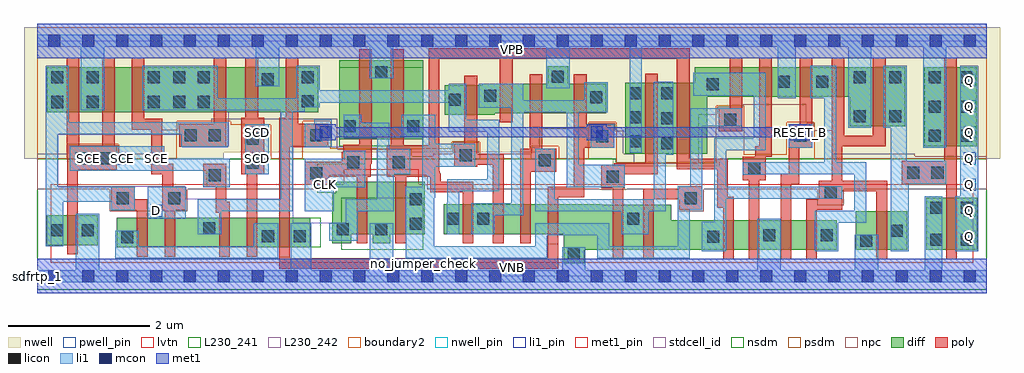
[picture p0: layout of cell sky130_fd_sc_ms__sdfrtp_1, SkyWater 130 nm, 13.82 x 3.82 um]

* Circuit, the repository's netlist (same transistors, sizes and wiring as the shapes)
* Copyright 2020 The SkyWater PDK Authors
*
* Licensed under the Apache License, Version 2.0 (the "License");
* you may not use this file except in compliance with the License.
* You may obtain a copy of the License at
*
*     https://www.apache.org/licenses/LICENSE-2.0
*
* Unless required by applicable law or agreed to in writing, software
* distributed under the License is distributed on an "AS IS" BASIS,
* WITHOUT WARRANTIES OR CONDITIONS OF ANY KIND, either express or implied.
* See the License for the specific language governing permissions and
* limitations under the License.
*
* SPDX-License-Identifier: Apache-2.0

.SUBCKT sky130_fd_sc_ms__sdfrtp_1 CLK D RESET_B SCD SCE VGND VNB VPB VPWR Q
*.PININFO CLK:I D:I RESET_B:I SCD:I SCE:I VGND:I VNB:I VPB:I VPWR:I
*.PININFO Q:O
MI642 clkneg CLK VGND VNB sky130_fd_pr__nfet_01v8_lvt m=1 w=0.74U l=0.15U mult=1
+ sa=0.265 sb=0.265 sd=0.28 area=0.063 perim=1.14
MI636 clkpos clkneg VGND VNB sky130_fd_pr__nfet_01v8_lvt m=1 w=0.74U l=0.15U mult=1
+ sa=0.265 sb=0.265 sd=0.28 area=0.063 perim=1.14
MI42 db clkneg M0 VNB sky130_fd_pr__nfet_01v8_lvt m=1 w=0.42U l=0.15U mult=1 sa=0.265
+ sb=0.265 sd=0.28 area=0.063 perim=1.14
MI656 net127 s0 net89 VNB sky130_fd_pr__nfet_01v8_lvt m=1 w=0.42U l=0.15U mult=1
+ sa=0.265 sb=0.265 sd=0.28 area=0.063 perim=1.14
MI657 net89 RESET_B VGND VNB sky130_fd_pr__nfet_01v8_lvt m=1 w=0.42U l=0.15U mult=1
+ sa=0.265 sb=0.265 sd=0.28 area=0.063 perim=1.14
MI33 net98 RESET_B VGND VNB sky130_fd_pr__nfet_01v8_lvt m=1 w=0.42U l=0.15U mult=1
+ sa=0.265 sb=0.265 sd=0.28 area=0.063 perim=1.14
MI634 sceb SCE VGND VNB sky130_fd_pr__nfet_01v8_lvt m=1 w=0.42U l=0.15U mult=1
+ sa=0.265 sb=0.265 sd=0.28 area=0.063 perim=1.14
MI4 M0 clkpos net110 VNB sky130_fd_pr__nfet_01v8_lvt m=1 w=0.42U l=0.15U mult=1
+ sa=0.265 sb=0.265 sd=0.28 area=0.063 perim=1.14
MI34 net110 M1 net98 VNB sky130_fd_pr__nfet_01v8_lvt m=1 w=0.42U l=0.15U mult=1
+ sa=0.265 sb=0.265 sd=0.28 area=0.063 perim=1.14
MI655 s0 clkneg net113 VNB sky130_fd_pr__nfet_01v8_lvt m=1 w=0.42U l=0.15U mult=1
+ sa=0.265 sb=0.265 sd=0.28 area=0.063 perim=1.14
MI652 net198 s0 VGND VNB sky130_fd_pr__nfet_01v8_lvt m=1 w=0.55U l=0.15U mult=1
+ sa=0.265 sb=0.265 sd=0.28 area=0.063 perim=1.14
MI653 Q net198 VGND VNB sky130_fd_pr__nfet_01v8_lvt m=1 w=0.74U l=0.15U mult=1
+ sa=0.265 sb=0.265 sd=0.28 area=0.063 perim=1.14
MI654 net113 net127 VGND VNB sky130_fd_pr__nfet_01v8_lvt m=1 w=0.42U l=0.15U mult=1
+ sa=0.265 sb=0.265 sd=0.28 area=0.063 perim=1.14
MI647 M1 M0 VGND VNB sky130_fd_pr__nfet_01v8_lvt m=1 w=0.64U l=0.15U mult=1 sa=0.265
+ sb=0.265 sd=0.28 area=0.063 perim=1.14
MI649 M1 clkpos s0 VNB sky130_fd_pr__nfet_01v8_lvt m=1 w=0.64U l=0.15U mult=1 sa=0.265
+ sb=0.265 sd=0.28 area=0.063 perim=1.14
MI666 net153 RESET_B VGND VNB sky130_fd_pr__nfet_01v8_lvt m=1 w=0.42U l=0.15U mult=1
+ sa=0.265 sb=0.265 sd=0.28 area=0.525 perim=3.1
MI98 db D n0 VNB sky130_fd_pr__nfet_01v8_lvt m=1 w=0.42U l=0.15U mult=1 sa=0.265
+ sb=0.265 sd=0.28 area=0.525 perim=3.1
MI103 n1 SCD net153 VNB sky130_fd_pr__nfet_01v8_lvt m=1 w=0.42U l=0.15U mult=1
+ sa=0.265 sb=0.265 sd=0.28 area=0.525 perim=3.1
MI120 db SCE n1 VNB sky130_fd_pr__nfet_01v8_lvt m=1 w=0.42U l=0.15U mult=1 sa=0.265
+ sb=0.265 sd=0.28 area=0.525 perim=3.1
MI104 n0 sceb net153 VNB sky130_fd_pr__nfet_01v8_lvt m=1 w=0.42U l=0.15U mult=1
+ sa=0.265 sb=0.265 sd=0.28 area=0.525 perim=3.1
MI643 clkneg CLK VPWR VPB sky130_fd_pr__pfet_01v8 m=1 w=1.12U l=0.18U mult=1 sa=0.265
+ sb=0.265 sd=0.28 area=0.063 perim=1.14
MI635 clkpos clkneg VPWR VPB sky130_fd_pr__pfet_01v8 m=1 w=1.12U l=0.18U mult=1
+ sa=0.265 sb=0.265 sd=0.28 area=0.063 perim=1.14
MI43 db clkpos M0 VPB sky130_fd_pr__pfet_01v8 m=1 w=0.42U l=0.18U mult=1 sa=0.265
+ sb=0.265 sd=0.28 area=0.063 perim=1.14
MI662 net170 net127 VPWR VPB sky130_fd_pr__pfet_01v8 m=1 w=0.42U l=0.18U mult=1
+ sa=0.265 sb=0.265 sd=0.28 area=0.063 perim=1.14
MI659 net127 RESET_B VPWR VPB sky130_fd_pr__pfet_01v8 m=1 w=0.42U l=0.18U mult=1
+ sa=0.265 sb=0.265 sd=0.28 area=0.063 perim=1.14
MI664 s0 clkpos net170 VPB sky130_fd_pr__pfet_01v8 m=1 w=0.42U l=0.18U mult=1 sa=0.265
+ sb=0.265 sd=0.28 area=0.063 perim=1.14
MI658 net127 s0 VPWR VPB sky130_fd_pr__pfet_01v8 m=1 w=0.42U l=0.18U mult=1 sa=0.265
+ sb=0.265 sd=0.28 area=0.063 perim=1.14
MI30 net189 M1 VPWR VPB sky130_fd_pr__pfet_01v8 m=1 w=0.42U l=0.18U mult=1 sa=0.265
+ sb=0.265 sd=0.28 area=0.063 perim=1.14
MI31 M0 clkneg net189 VPB sky130_fd_pr__pfet_01v8 m=1 w=0.42U l=0.18U mult=1 sa=0.265
+ sb=0.265 sd=0.28 area=0.063 perim=1.14
MI32 M0 RESET_B VPWR VPB sky130_fd_pr__pfet_01v8 m=1 w=0.42U l=0.18U mult=1 sa=0.265
+ sb=0.265 sd=0.28 area=0.063 perim=1.14
MI663 net198 s0 VPWR VPB sky130_fd_pr__pfet_01v8 m=1 w=0.84U l=0.18U mult=1 sa=0.265
+ sb=0.265 sd=0.28 area=0.063 perim=1.14
MI660 Q net198 VPWR VPB sky130_fd_pr__pfet_01v8 m=1 w=1.12U l=0.18U mult=1 sa=0.265
+ sb=0.265 sd=0.28 area=0.063 perim=1.14
MI648 M1 M0 VPWR VPB sky130_fd_pr__pfet_01v8 m=1 w=1.0U l=0.18U mult=1 sa=0.265
+ sb=0.265 sd=0.28 area=0.063 perim=1.14
MI650 M1 clkneg s0 VPB sky130_fd_pr__pfet_01v8 m=1 w=1.0U l=0.18U mult=1 sa=0.265
+ sb=0.265 sd=0.28 area=0.063 perim=1.14
MI633 sceb SCE VPWR VPB sky130_fd_pr__pfet_01v8 m=1 w=0.64U l=0.18U mult=1 sa=0.265
+ sb=0.265 sd=0.28 area=0.063 perim=1.14
MI101 db sceb p1 VPB sky130_fd_pr__pfet_01v8 m=1 w=0.64U l=0.18U mult=1 sa=0.265
+ sb=0.265 sd=0.28 area=0.063 perim=1.14
MI107 p0 SCE VPWR VPB sky130_fd_pr__pfet_01v8 m=1 w=0.64U l=0.18U mult=1 sa=0.265
+ sb=0.265 sd=0.28 area=0.063 perim=1.14
MI94 db D p0 VPB sky130_fd_pr__pfet_01v8 m=1 w=0.64U l=0.18U mult=1 sa=0.265 sb=0.265
+ sd=0.28 area=0.063 perim=1.14
MI108 p1 SCD VPWR VPB sky130_fd_pr__pfet_01v8 m=1 w=0.64U l=0.18U mult=1 sa=0.265
+ sb=0.265 sd=0.28 area=0.063 perim=1.14
MI665 db RESET_B VPWR VPB sky130_fd_pr__pfet_01v8 m=1 w=0.64U l=0.18U mult=1 sa=0.265
+ sb=0.265 sd=0.28 area=0.063 perim=1.14
.ENDS sky130_fd_sc_ms__sdfrtp_1

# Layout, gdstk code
import gdstk
lib = gdstk.Library(unit=1e-6, precision=1e-09)
def R(c, l, rs):  # rectangles x0, y0, x1, y1
    for r in rs: c.add(gdstk.rectangle(r[:2], r[2:], *l))
def A(c, l, x, y, w, h, nx, ny, dx, dy):  # array of equal rectangles
    R(c, l, [(x+i*dx, y+j*dy, x+i*dx+w, y+j*dy+h) for i in range(nx) for j in range(ny)])
def P(c, l, *ps):  # polygons
    for p in ps: c.add(gdstk.Polygon(p, *l))
nwell_pin = (64, 16)
nwell = (64, 20)
diff = (65, 20)
poly = (66, 20)
licon = (66, 44)
li1_pin = (67, 16)
li1 = (67, 20)
mcon = (67, 44)
met1_pin = (68, 16)
met1 = (68, 20)
stdcell_id = (81, 4)
nsdm = (93, 44)
psdm = (94, 20)
npc = (95, 20)
pwell_pin = (122, 16)
lvtn = (125, 44)
L230_241 = (230, 241)
L230_242 = (230, 242)
boundary2 = (236, 0)

sky130_fd_sc_ms__sdfrtp_ = lib.new_cell('sky130_fd_sc_ms__sdfrtp_1')
R(sky130_fd_sc_ms__sdfrtp_, nwell_pin, [(0,3.085,13.44,3.33)])
P(sky130_fd_sc_ms__sdfrtp_, nwell, [(13.63,3.52),(-0.19,3.52),(-0.19,1.66),(2.635,1.66),(2.635,1.755),(7.135,1.755),(7.135,1.66),(8.145,1.66),(8.145,1.555),(9.665,1.555),(9.665,1.66),(13.63,1.66)])
R(sky130_fd_sc_ms__sdfrtp_, diff, [(11.59,0.37,12.315,0.92), (12.585,0.37,13.305,1.11), (1.125,0.405,3.86,0.825), (0.135,0.44,0.855,0.86), (12.56,1.84,13.3,2.96), (4.275,1.935,5.465,3.055), (0.135,2.32,3.975,2.96)])
P(sky130_fd_sc_ms__sdfrtp_, diff, [(8.055,2.725),(7.52,2.725),(7.52,2.97),(7.225,2.97),(7.225,2.725),(6.3,2.725),(6.3,2.705),(5.765,2.705),(5.765,2.285),(6.475,2.285),(6.475,2.305),(8.055,2.305)],
  [(11.32,0.79),(8.975,0.79),(8.975,1.01),(7.995,1.01),(7.995,1.015),(5.755,1.015),(5.755,0.595),(7.45,0.595),(7.45,0.18),(7.74,0.18),(7.74,0.37),(11.32,0.37)],
  [(12.29,2.96),(9.31,2.96),(9.31,2.735),(8.325,2.735),(8.325,1.735),(9.485,1.735),(9.485,2.54),(11.5,2.54),(11.5,2.12),(12.29,2.12)],
  [(5.485,1.335),(4.225,1.335),(4.225,1.18),(4.175,1.18),(4.175,0.465),(4.445,0.465),(4.445,0.595),(4.745,0.595),(4.745,0.465),(4.995,0.465),(4.995,0.595),(5.485,0.595)])
P(sky130_fd_sc_ms__sdfrtp_, poly, [(1.125,1.835),(1.095,1.835),(1.095,3.09),(0.915,3.09),(0.915,1.835),(0.595,1.835),(0.595,3.09),(0.415,3.09),(0.415,1.685),(0.42,1.685),(0.42,0.31),(0.57,0.31),(0.57,1.505),(1.125,1.505)],
  [(1.56,1.085),(1.375,1.085),(1.375,1.265),(1.045,1.265),(1.045,0.935),(1.41,0.935),(1.41,0.275),(1.56,0.275)],
  [(2.1,1.265),(1.92,1.265),(1.92,1.59),(1.765,1.59),(1.765,2.225),(1.515,2.225),(1.515,3.09),(1.335,3.09),(1.335,2.075),(1.615,2.075),(1.615,1.44),(1.77,1.44),(1.77,0.935),(1.8,0.935),(1.8,0.275),(1.95,0.275),(1.95,0.935),(2.1,0.935)],
  [(2.675,3.09),(2.495,3.09),(2.495,2.16),(2.005,2.16),(2.005,1.83),(2.675,1.83)],
  [(2.725,1.05),(2.675,1.05),(2.675,1.59),(2.345,1.59),(2.345,1.26),(2.525,1.26),(2.525,0.9),(2.575,0.9),(2.575,0.275),(2.725,0.275)],
  [(3.215,2.245),(3.125,2.245),(3.125,3.09),(2.945,3.09),(2.945,2.245),(2.885,2.245),(2.885,1.44),(2.965,1.44),(2.965,0.275),(3.115,0.275),(3.115,1.44),(3.215,1.44)],
  [(4.735,3.215),(4.555,3.215),(4.555,1.86),(4.33,1.86),(4.33,1.755),(4.31,1.755),(4.31,1.62),(3.785,1.62),(3.785,1.29),(4.115,1.29),(4.115,1.41),(4.52,1.41),(4.52,0.465),(4.67,0.465),(4.67,1.41),(4.72,1.41),(4.72,1.59),(4.735,1.59)],
  [(6.6,1.725),(6.23,1.725),(6.23,1.875),(6.225,1.875),(6.225,2.835),(6.045,2.835),(6.045,1.875),(5.9,1.875),(5.9,1.545),(6.23,1.545),(6.23,1.575),(6.45,1.575),(6.45,0.465),(6.6,0.465)],
  [(7.35,1.805),(7.15,1.805),(7.15,2.855),(6.97,2.855),(6.97,1.805),(6.835,1.805),(6.835,0.465),(6.985,0.465),(6.985,1.475),(7.35,1.475)],
  [(8.165,2.145),(7.775,2.145),(7.775,2.855),(7.595,2.855),(7.595,1.265),(7.225,1.265),(7.225,0.255),(3.575,0.255),(3.575,1.83),(4.095,1.83),(4.095,1.85),(4.115,1.85),(4.115,2.16),(3.695,2.16),(3.695,3.09),(3.515,3.09),(3.515,2.245),(3.425,2.245),(3.425,0.105),(7.375,0.105),(7.375,1.115),(7.745,1.115),(7.745,1.815),(8.165,1.815)],
  [(8.785,2.865),(8.605,2.865),(8.605,1.595),(8.165,1.595),(8.165,1.575),(7.985,1.575),(7.985,1.245),(8.145,1.245),(8.145,0.24),(8.295,0.24),(8.295,1.245),(8.315,1.245),(8.315,1.445),(8.785,1.445)],
  [(9.415,1.27),(9.085,1.27),(9.085,1.235),(8.575,1.235),(8.575,0.24),(8.725,0.24),(8.725,1.085),(9.085,1.085),(9.085,0.94),(9.415,0.94)],
  [(9.86,1.12),(9.775,1.12),(9.775,1.66),(9.235,1.66),(9.235,3.225),(5.54,3.225),(5.54,1.85),(5.185,1.85),(5.185,3.215),(5.005,3.215),(5.005,1.85),(4.95,1.85),(4.95,1.41),(5.07,1.41),(5.07,0.465),(5.22,0.465),(5.22,1.41),(5.56,1.41),(5.56,1.185),(6.02,1.185),(6.02,0.465),(6.17,0.465),(6.17,1.335),(5.71,1.335),(5.71,1.45),(5.705,1.45),(5.705,1.465),(5.7,1.465),(5.7,1.48),(5.695,1.48),(5.695,1.485),(5.69,1.485),(5.69,3.075),(6.55,3.075),(6.55,2.175),(6.73,2.175),(6.73,3.075),(9.055,3.075),(9.055,1.51),(9.625,1.51),(9.625,0.97),(9.71,0.97),(9.71,0.24),(9.86,0.24)],
  [(9.98,3.09),(9.8,3.09),(9.8,2.38),(9.645,2.38),(9.645,2.05),(9.98,2.05)],
  [(10.4,3.09),(10.22,3.09),(10.22,1.84),(10.165,1.84),(10.165,1.69),(9.985,1.69),(9.985,1.36),(10.07,1.36),(10.07,0.24),(10.22,0.24),(10.22,1.36),(10.315,1.36),(10.315,1.69),(10.4,1.69)],
  [(10.975,3.09),(10.795,3.09),(10.795,2.15),(10.64,2.15),(10.64,1.45),(10.525,1.45),(10.525,0.24),(10.675,0.24),(10.675,1.3),(10.79,1.3),(10.79,1.82),(10.975,1.82)],
  [(12.03,1.35),(11.395,1.35),(11.395,1.84),(12.01,1.84),(12.01,3.09),(11.83,3.09),(11.83,1.99),(11.425,1.99),(11.425,3.09),(11.245,3.09),(11.245,1.35),(11.065,1.35),(11.065,1.09),(10.885,1.09),(10.885,0.24),(11.035,0.24),(11.035,0.94),(11.395,0.94),(11.395,1.2),(11.88,1.2),(11.88,0.24),(12.03,0.24)],
  [(13.02,3.09),(12.84,3.09),(12.84,1.63),(12.24,1.63),(12.24,1.3),(12.87,1.3),(12.87,0.24),(13.02,0.24)])
A(sky130_fd_sc_ms__sdfrtp_, licon, 8.835, 1.795, 0.17, 0.17, 1, 3, 0, 0.355)
A(sky130_fd_sc_ms__sdfrtp_, licon, 8.385, 1.825, 0.17, 0.17, 1, 3, 0, 0.34)
A(sky130_fd_sc_ms__sdfrtp_, licon, 12.62, 1.9, 0.17, 0.17, 1, 3, 0, 0.415)
A(sky130_fd_sc_ms__sdfrtp_, licon, 13.07, 1.9, 0.17, 0.17, 1, 3, 0, 0.415)
R(sky130_fd_sc_ms__sdfrtp_, licon, [(7.51,0.24,7.68,0.41), (11.65,0.415,11.82,0.585), (12.645,0.43,12.815,0.6), (13.075,0.43,13.245,0.6), (1.185,0.465,1.355,0.635), (9.485,0.475,9.655,0.645), (3.18,0.48,3.35,0.65), (3.63,0.48,3.8,0.65), (10.275,0.495,10.445,0.665), (11.09,0.495,11.26,0.665), (12.085,0.56,12.255,0.73), (0.195,0.565,0.365,0.735), (0.625,0.565,0.795,0.735), (4.235,0.58,4.405,0.75), (4.785,0.58,4.955,0.75), (2.35,0.595,2.52,0.765), (5.275,0.655,5.445,0.825), (5.795,0.725,5.965,0.895), (6.225,0.725,6.395,0.895), (8.35,0.725,8.52,0.895), (12.645,0.88,12.815,1.05), (13.075,0.88,13.245,1.05), (5.275,1.005,5.445,1.175), (1.125,1.015,1.295,1.185), (1.85,1.015,2.02,1.185), (9.165,1.02,9.335,1.19), (11.145,1.1,11.315,1.27), (8.065,1.325,8.235,1.495), (2.425,1.34,2.595,1.51), (3.865,1.37,4.035,1.54), (12.32,1.38,12.49,1.55), (12.66,1.38,12.83,1.55), (10.065,1.44,10.235,1.61), (2.965,1.52,3.135,1.69), (4.39,1.525,4.56,1.695), (5.03,1.525,5.2,1.695), (7.1,1.555,7.27,1.725), (0.535,1.585,0.705,1.755), (0.875,1.585,1.045,1.755), (5.98,1.625,6.15,1.795), (2.965,1.86,3.135,2.03), (7.915,1.895,8.085,2.065), (10.72,1.9,10.89,2.07), (2.085,1.91,2.255,2.08), (2.425,1.91,2.595,2.08), (3.865,1.91,4.035,2.08), (4.335,2.035,4.505,2.205), (5.235,2.035,5.405,2.205), (9.725,2.13,9.895,2.3), (11.56,2.18,11.73,2.35), (12.06,2.18,12.23,2.35), (0.195,2.38,0.365,2.55), (0.695,2.38,0.865,2.55), (1.565,2.38,1.735,2.55), (1.92,2.38,2.09,2.55), (2.27,2.38,2.44,2.55), (3.745,2.39,3.915,2.56), (5.825,2.41,5.995,2.58), (7.825,2.445,7.995,2.615), (6.33,2.47,6.5,2.64), (9.475,2.63,9.645,2.8), (10.485,2.665,10.655,2.835), (11.025,2.665,11.195,2.835), (3.175,2.705,3.345,2.875), (0.195,2.73,0.365,2.9), (0.695,2.73,0.865,2.9), (1.565,2.73,1.735,2.9), (1.92,2.73,2.09,2.9), (2.27,2.73,2.44,2.9), (3.745,2.73,3.915,2.9), (11.56,2.73,11.73,2.9), (12.06,2.73,12.23,2.9), (7.285,2.74,7.455,2.91), (4.785,2.8,4.955,2.97)])
A(sky130_fd_sc_ms__sdfrtp_, li1_pin, 13.115, 0.47, 0.17, 0.17, 1, 7, 0, 0.37)
A(sky130_fd_sc_ms__sdfrtp_, li1_pin, 0.635, 1.58, 0.17, 0.17, 3, 1, 0.48, 0)
R(sky130_fd_sc_ms__sdfrtp_, li1_pin, [(1.595,0.84,1.765,1.01), (3.995,1.21,4.165,1.38), (3.035,1.58,3.205,1.75), (3.035,1.95,3.205,2.12)])
R(sky130_fd_sc_ms__sdfrtp_, li1, [(1.565,0.81,2.1,1.265), (2.945,1.44,3.275,2.15), (7.835,1.815,8.165,2.15), (10.64,1.82,10.97,2.15)])
P(sky130_fd_sc_ms__sdfrtp_, li1, [(2.705,2.175),(0.445,2.175),(0.445,2.98),(0.115,2.98),(0.115,0.42),(0.365,0.42),(0.365,1.05),(1.045,1.05),(1.045,0.935),(1.375,0.935),(1.375,1.265),(0.285,1.265),(0.285,2.005),(2.035,2.005),(2.035,1.83),(2.705,1.83)],
  [(2.725,1.66),(1.795,1.66),(1.795,1.835),(0.455,1.835),(0.455,1.49),(2.345,1.49),(2.345,1.26),(2.725,1.26)],
  [(3.41,0.75),(3.06,0.75),(3.06,0.425),(1.435,0.425),(1.435,0.64),(1.105,0.64),(1.105,0.255),(3.41,0.255)],
  [(4.165,2.22),(3.92,2.22),(3.92,2.16),(3.785,2.16),(3.785,1.83),(4.165,1.83)],
  [(4.64,1.775),(4.335,1.775),(4.335,1.66),(3.785,1.66),(3.785,0.92),(4.195,0.92),(4.195,1.26),(4.64,1.26)],
  [(5.28,1.8),(4.98,1.8),(4.98,2.17),(4.585,2.17),(4.585,2.285),(4.335,2.285),(4.335,1.95),(4.81,1.95),(4.81,1.09),(4.365,1.09),(4.365,0.75),(4.135,0.75),(4.135,0.5),(4.535,0.5),(4.535,0.92),(5.045,0.92),(5.045,1.445),(5.28,1.445)],
  [(6.54,2.215),(6.075,2.215),(6.075,2.725),(5.825,2.725),(5.825,2.63),(3.995,2.63),(3.995,2.98),(3.665,2.98),(3.665,2.515),(2.555,2.515),(2.555,2.98),(1.485,2.98),(1.485,2.345),(3.445,2.345),(3.445,1.09),(2.27,1.09),(2.27,0.595),(2.6,0.595),(2.6,0.92),(3.615,0.92),(3.615,2.33),(3.785,2.33),(3.785,2.39),(3.995,2.39),(3.995,2.455),(5.825,2.455),(5.825,2.045),(6.37,2.045),(6.37,1.37),(5.8,1.37),(5.8,1.035),(5.795,1.035),(5.795,0.595),(5.975,0.595),(5.975,1.2),(6.54,1.2)],
  [(8.315,1.575),(7.665,1.575),(7.665,2.32),(8.075,2.32),(8.075,2.745),(7.745,2.745),(7.745,2.49),(6.88,2.49),(6.88,2.725),(6.25,2.725),(6.25,2.385),(6.71,2.385),(6.71,1.03),(6.145,1.03),(6.145,0.595),(6.47,0.595),(6.47,0.86),(6.88,0.86),(6.88,2.32),(7.495,2.32),(7.495,1.26),(8.315,1.26)],
  [(9.005,2.755),(8.725,2.755),(8.725,1.09),(7.325,1.09),(7.325,1.805),(7.05,1.805),(7.05,0.92),(8.27,0.92),(8.27,0.595),(8.655,0.595),(8.655,0.92),(8.895,0.92),(8.895,1.715),(9.005,1.715)],
  [(9.975,2.38),(9.245,2.38),(9.245,1.27),(9.065,1.27),(9.065,0.425),(8.1,0.425),(8.1,0.75),(7.05,0.75),(7.05,0.425),(5.62,0.425),(5.62,1.11),(5.63,1.11),(5.63,1.545),(6.2,1.545),(6.2,1.875),(5.63,1.875),(5.63,2.285),(5.155,2.285),(5.155,1.97),(5.45,1.97),(5.45,1.265),(5.215,1.265),(5.215,0.255),(7.22,0.255),(7.22,0.58),(7.93,0.58),(7.93,0.255),(9.235,0.255),(9.235,0.94),(9.415,0.94),(9.415,2.125),(9.975,2.125)],
  [(11.395,1.275),(11.065,1.275),(11.065,1.265),(9.755,1.265),(9.755,1.785),(10.315,1.785),(10.315,2.88),(9.29,2.88),(9.29,2.55),(10.145,2.55),(10.145,1.955),(9.585,1.955),(9.585,0.77),(9.405,0.77),(9.405,0.35),(9.755,0.35),(9.755,1.095),(11.395,1.095)],
  [(11.735,1.615),(11.31,1.615),(11.31,2.98),(10.945,2.98),(10.945,2.52),(11.14,2.52),(11.14,1.615),(9.985,1.615),(9.985,1.435),(10.315,1.435),(10.315,1.445),(11.565,1.445),(11.565,0.925),(11.01,0.925),(11.01,0.35),(11.34,0.35),(11.34,0.755),(11.735,0.755)],
  [(13.44,0.085),(12.815,0.085),(12.815,1.13),(12.565,1.13),(12.565,0.085),(11.905,0.085),(11.905,0.585),(11.57,0.585),(11.57,0.085),(10.525,0.085),(10.525,0.81),(10.195,0.81),(10.195,0.085),(7.76,0.085),(7.76,0.41),(7.43,0.41),(7.43,0.085),(5.035,0.085),(5.035,0.75),(4.705,0.75),(4.705,0.085),(3.88,0.085),(3.88,0.75),(3.59,0.75),(3.59,0.085),(0.875,0.085),(0.875,0.88),(0.545,0.88),(0.545,0.085),(0,0.085),(0,-0.085),(13.44,-0.085)],
  [(13.44,3.415),(0,3.415),(0,3.245),(0.615,3.245),(0.615,2.345),(0.945,2.345),(0.945,3.245),(3.095,3.245),(3.095,2.685),(3.425,2.685),(3.425,3.245),(4.705,3.245),(4.705,2.8),(5.035,2.8),(5.035,3.245),(7.205,3.245),(7.205,2.66),(7.54,2.66),(7.54,3.245),(8.385,3.245),(8.385,1.745),(8.555,1.745),(8.555,3.245),(10.485,3.245),(10.485,2.52),(10.735,2.52),(10.735,3.245),(11.48,3.245),(11.48,2.1),(11.81,2.1),(11.81,3.245),(12.54,3.245),(12.54,1.82),(12.87,1.82),(12.87,3.245),(13.44,3.245)],
  [(12.87,1.63),(12.31,1.63),(12.31,2.98),(11.98,2.98),(11.98,2.1),(12.085,2.1),(12.085,0.35),(12.335,0.35),(12.335,1.3),(12.87,1.3)],
  [(13.325,2.98),(13.07,2.98),(13.07,1.13),(12.995,1.13),(12.995,0.35),(13.325,0.35)])
A(sky130_fd_sc_ms__sdfrtp_, mcon, 0.155, -0.085, 0.17, 0.17, 28, 2, 0.48, 3.33)
R(sky130_fd_sc_ms__sdfrtp_, mcon, [(3.995,1.95,4.165,2.12), (7.835,1.95,8.005,2.12), (10.715,1.95,10.885,2.12)])
R(sky130_fd_sc_ms__sdfrtp_, met1_pin, [(0,0,13.44,0.245), (10.715,1.95,10.885,2.12), (0,3.085,13.44,3.33)])
R(sky130_fd_sc_ms__sdfrtp_, met1, [(0,-0.245,13.44,0.245), (0,3.085,13.44,3.575)])
P(sky130_fd_sc_ms__sdfrtp_, met1, [(8.065,2.105),(10.655,2.105),(10.655,2.15),(10.945,2.15),(10.945,1.92),(10.655,1.92),(10.655,1.965),(8.065,1.965),(8.065,1.92),(7.775,1.92),(7.775,1.965),(4.225,1.965),(4.225,1.92),(3.935,1.92),(3.935,2.15),(4.225,2.15),(4.225,2.105),(7.775,2.105),(7.775,2.15),(8.065,2.15)])
R(sky130_fd_sc_ms__sdfrtp_, stdcell_id, [(0,0,13.44,3.33)])
P(sky130_fd_sc_ms__sdfrtp_, nsdm, [(13.44,1.66),(9.615,1.66),(9.615,1.605),(8.195,1.605),(8.195,1.66),(0,1.66),(0,-0.19),(13.44,-0.19)])
P(sky130_fd_sc_ms__sdfrtp_, psdm, [(13.44,3.52),(0,3.52),(0,1.66),(0.425,1.66),(0.425,1.865),(1.155,1.865),(1.155,1.66),(1.975,1.66),(1.975,2.19),(2.735,2.19),(2.735,2.14),(3.305,2.14),(3.305,1.66),(3.755,1.66),(3.755,2.19),(4.145,2.19),(4.145,1.805),(5.87,1.805),(5.87,1.905),(6.26,1.905),(6.26,1.66),(6.99,1.66),(6.99,1.835),(7.38,1.835),(7.38,1.66),(7.805,1.66),(7.805,2.175),(8.195,2.175),(8.195,1.605),(9.615,1.605),(9.615,2.41),(10.005,2.41),(10.005,1.72),(10.61,1.72),(10.61,2.18),(11,2.18),(11,1.66),(13.44,1.66)])
P(sky130_fd_sc_ms__sdfrtp_, npc, [(13.44,1.7),(12.42,1.7),(12.42,1.73),(11.255,1.73),(11.255,2.065),(10.99,2.065),(10.99,2.17),(10.885,2.17),(10.885,2.435),(9.995,2.435),(9.995,2.4),(9.625,2.4),(9.625,2.295),(9.36,2.295),(9.36,1.595),(8.45,1.595),(8.45,1.735),(8.295,1.735),(8.295,2.06),(8.185,2.06),(8.185,2.165),(7.815,2.165),(7.815,2.09),(7.105,2.09),(7.105,1.825),(7,1.825),(7,1.73),(6.25,1.73),(6.25,1.895),(5.88,1.895),(5.88,1.73),(5.605,1.73),(5.605,1.7),(5.3,1.7),(5.3,1.795),(4.245,1.795),(4.245,2.23),(2.46,2.23),(2.46,2.18),(1.985,2.18),(1.985,2.075),(1.75,2.075),(1.75,1.73),(1.145,1.73),(1.145,1.855),(0.435,1.855),(0.435,1.73),(0,1.73),(0,1.23),(1.025,1.23),(1.025,0.915),(2.12,0.915),(2.12,1.23),(4.135,1.23),(4.135,1.425),(5.52,1.425),(5.52,1.23),(7.965,1.23),(7.965,1.225),(8.335,1.225),(8.335,1.23),(9.065,1.23),(9.065,0.92),(9.435,0.92),(9.435,1.23),(11.045,1.23),(11.045,1),(11.415,1),(11.415,1.23),(13.44,1.23)])
R(sky130_fd_sc_ms__sdfrtp_, pwell_pin, [(0,0,13.44,0.245)])
R(sky130_fd_sc_ms__sdfrtp_, lvtn, [(0.19,0.19,13.25,1.3), (4.34,1.3,5.4,1.515)])
R(sky130_fd_sc_ms__sdfrtp_, L230_241, [(4.305,0.37,5.46,1.11), (1.125,0.405,4.015,0.825), (2.945,1.44,3.275,2.15), (4.275,1.84,5.465,2.96), (0.135,2.32,3.975,2.96)])
P(sky130_fd_sc_ms__sdfrtp_, L230_241, [(4.64,1.59),(4.64,1.26),(4.195,1.26),(4.195,1.18),(3.965,1.18),(3.965,1.59)],
  [(1.795,1.66),(2.725,1.66),(2.725,1.26),(2.395,1.26),(2.395,1.49),(0.455,1.49),(0.455,1.835),(1.795,1.835)],
  [(0.115,0.42),(0.115,2.98),(0.445,2.98),(0.445,2.175),(2.705,2.175),(2.705,1.83),(2.035,1.83),(2.035,2.005),(0.285,2.005),(0.285,1.265),(1.375,1.265),(1.375,0.935),(1.045,0.935),(1.045,1.05),(0.365,1.05),(0.365,0.42)])
P(sky130_fd_sc_ms__sdfrtp_, L230_242, [(7.375,0.46),(7.225,0.46),(7.225,0.255),(3.575,0.255),(3.575,0.275),(3.425,0.275),(3.425,0.105),(7.375,0.105)],
  [(4.81,1.82),(4.335,1.82),(4.335,1.83),(3.615,1.83),(3.615,0.75),(4.365,0.75),(4.365,1.09),(4.81,1.09)],
  [(3.445,2.345),(2.705,2.345),(2.705,1.66),(2.725,1.66),(2.725,1.09),(3.445,1.09)],
  [(2.725,1.66),(2.705,1.66),(2.705,1.83),(2.035,1.83),(2.035,2.005),(0.285,2.005),(0.285,1.265),(2.1,1.265),(2.1,1.09),(2.725,1.09)])
R(sky130_fd_sc_ms__sdfrtp_, boundary2, [(0,0,13.44,3.33)])
sky130_fd_sc_ms__sdfrtp_.add(gdstk.Label('VNB', (6.72,0.123), layer=64, texttype=59))
sky130_fd_sc_ms__sdfrtp_.add(gdstk.Label('VPB', (6.72,3.208), layer=64, texttype=5))
sky130_fd_sc_ms__sdfrtp_.add(gdstk.Label('sdfrtp_1', (0,0), layer=83, texttype=44))
sky130_fd_sc_ms__sdfrtp_.add(gdstk.Label('no_jumper_check', (7.535,3.15), layer=83, texttype=44))
sky130_fd_sc_ms__sdfrtp_.add(gdstk.Label('no_jumper_check', (5.47,0.18), layer=83, texttype=44))
sky130_fd_sc_ms__sdfrtp_.add(gdstk.Label('RESET_B', (10.8,2.035), layer=68, texttype=5))
sky130_fd_sc_ms__sdfrtp_.add(gdstk.Label('VPWR', (6.72,3.208), layer=68, texttype=5))
sky130_fd_sc_ms__sdfrtp_.add(gdstk.Label('VGND', (6.72,0.123), layer=68, texttype=5))
sky130_fd_sc_ms__sdfrtp_.add(gdstk.Label('Q', (13.2,0.555), layer=67, texttype=5))
sky130_fd_sc_ms__sdfrtp_.add(gdstk.Label('Q', (13.2,0.925), layer=67, texttype=5))
sky130_fd_sc_ms__sdfrtp_.add(gdstk.Label('Q', (13.2,1.295), layer=67, texttype=5))
sky130_fd_sc_ms__sdfrtp_.add(gdstk.Label('Q', (13.2,1.665), layer=67, texttype=5))
sky130_fd_sc_ms__sdfrtp_.add(gdstk.Label('Q', (13.2,2.035), layer=67, texttype=5))
sky130_fd_sc_ms__sdfrtp_.add(gdstk.Label('Q', (13.2,2.405), layer=67, texttype=5))
sky130_fd_sc_ms__sdfrtp_.add(gdstk.Label('Q', (13.2,2.775), layer=67, texttype=5))
sky130_fd_sc_ms__sdfrtp_.add(gdstk.Label('SCE', (0.72,1.665), layer=67, texttype=5))
sky130_fd_sc_ms__sdfrtp_.add(gdstk.Label('SCE', (1.2,1.665), layer=67, texttype=5))
sky130_fd_sc_ms__sdfrtp_.add(gdstk.Label('SCE', (1.68,1.665), layer=67, texttype=5))
sky130_fd_sc_ms__sdfrtp_.add(gdstk.Label('CLK', (4.08,1.295), layer=67, texttype=5))
sky130_fd_sc_ms__sdfrtp_.add(gdstk.Label('SCD', (3.12,1.665), layer=67, texttype=5))
sky130_fd_sc_ms__sdfrtp_.add(gdstk.Label('SCD', (3.12,2.035), layer=67, texttype=5))
sky130_fd_sc_ms__sdfrtp_.add(gdstk.Label('D', (1.68,0.925), layer=67, texttype=5))

lib.write_gds('sky130_fd_sc_ms__sdfrtp_1.gds')
